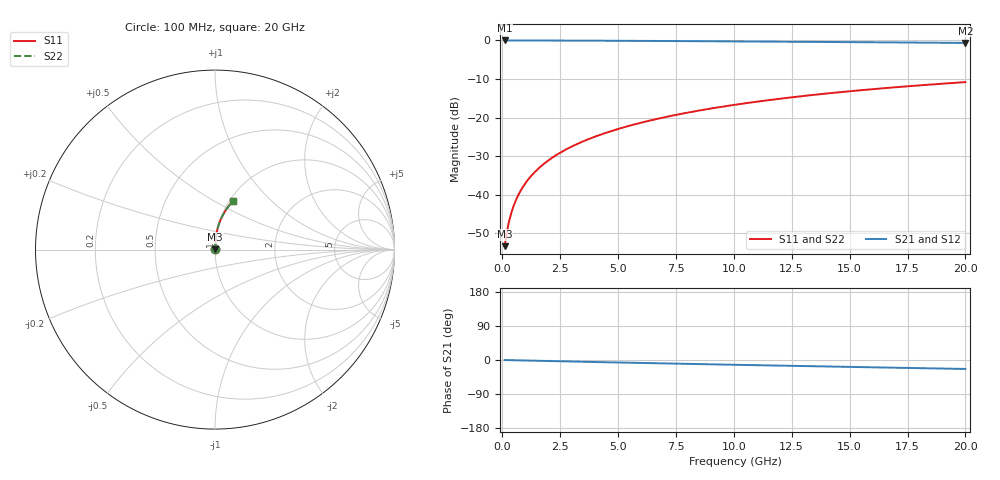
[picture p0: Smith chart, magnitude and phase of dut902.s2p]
! Touchstone file exported from HFSS 2024.1.0
!  File:  C:/UserFiles/LocalFiles/RDL_TSV_Batchsim/temp_RDL_bottom_902_1779940062.aedt
!  Generated:  11:50:34 AM May 28, 2026
!  Design:  RDL_bottom
!  Project:  temp_RDL_bottom_902_1779940062
!  Setup:  Setup1
!  Solution:  Sweep
! Variables:
!  dtsv = 10.80580581um
!  hbump = 3um
!  htsv = 51.48um
!  ldown = 267.38um
!  lrdl = 100um
!  p = 40
!  p1 = 57.94um
!  rhole = 1um
!  t = 450um
!  tdown = 3.77um
!  trdl = 3.915915916um
!  wdown = 17.88um
!  wrdl = 20um
# GHz S MA R 50.000000
! Terminal data exported
! Port[1] = RDL1_T1
! Port[2] = RDL1_T2
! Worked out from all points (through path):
!   200 points, 100 MHz to 20 GHz, reference 50 ohm
!   highest |S21| = -0.01 dB at 100 MHz (marker M1); lowest = -0.7 dB at 20 GHz (marker M2)
!   group delay of S21, straight-line fit = 3.26 ps
!   lowest |S11| = -53.4 dB at 100 MHz (marker M3), VSWR 1.00, Z = 50.2 + j0.146 ohm
!   |S11| at or under -10 dB: start of sweep to end of sweep
!   |S22| runs from -53.4 to -10.8 dB; largest |S21 - S12| = 2.6e-15
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0.1  0.002147 42.7  0.9984 -0.1  0.9984 -0.1  0.002147 42.7
! Gamma 0 0 0 0
! Port Impedance 50 0 50 0
0.2  0.003317 60.7  0.9984 -0.3  0.9984 -0.3  0.003317 60.7
0.3  0.004615 68.6  0.9983 -0.4  0.9983 -0.4  0.004615 68.6
0.4  0.005944 73.1  0.9982 -0.6  0.9982 -0.6  0.005944 73.1
0.5  0.007285 75.9  0.9981 -0.7  0.9981 -0.7  0.007285 75.9
0.6  0.008634 77.9  0.9981 -0.8  0.9981 -0.8  0.008634 77.9
0.8  0.01135 80.5  0.9979 -1.1  0.9979 -1.1  0.01135 80.5
1.1  0.01546 82.8  0.9976 -1.5  0.9976 -1.5  0.01546 82.8
1.5  0.02099 84.3  0.9972 -2.0  0.9972 -2.0  0.02099 84.3
1.8  0.02516 85.0  0.9968 -2.4  0.9968 -2.4  0.02516 85.0
2.1  0.02935 85.5  0.9963 -2.8  0.9963 -2.8  0.02935 85.5
2.7  0.03781 85.9  0.9952 -3.6  0.9952 -3.6  0.03781 85.9
3.5  0.04921 86.1  0.9933 -4.7  0.9933 -4.7  0.04921 86.1
4.2  0.05931 85.9  0.9914 -5.6  0.9914 -5.6  0.05931 85.9
5  0.07099 85.6  0.989 -6.6  0.989 -6.6  0.07099 85.6
5.9  0.08428 85.0  0.9861 -7.7  0.9861 -7.7  0.08428 85.0
6.8  0.09768 84.3  0.983 -8.8  0.983 -8.8  0.09768 84.3
8.4  0.1217 82.8  0.9771 -10.7  0.9771 -10.7  0.1217 82.8
10.1  0.1472 81.0  0.9706 -12.7  0.9706 -12.7  0.1472 81.0
13.4  0.196 77.3  0.9573 -16.5  0.9573 -16.5  0.196 77.3
16.7  0.2431 73.4  0.943 -20.1  0.943 -20.1  0.2431 73.5
20  0.2879 69.7  0.9277 -23.6  0.9277 -23.6  0.2879 69.7
